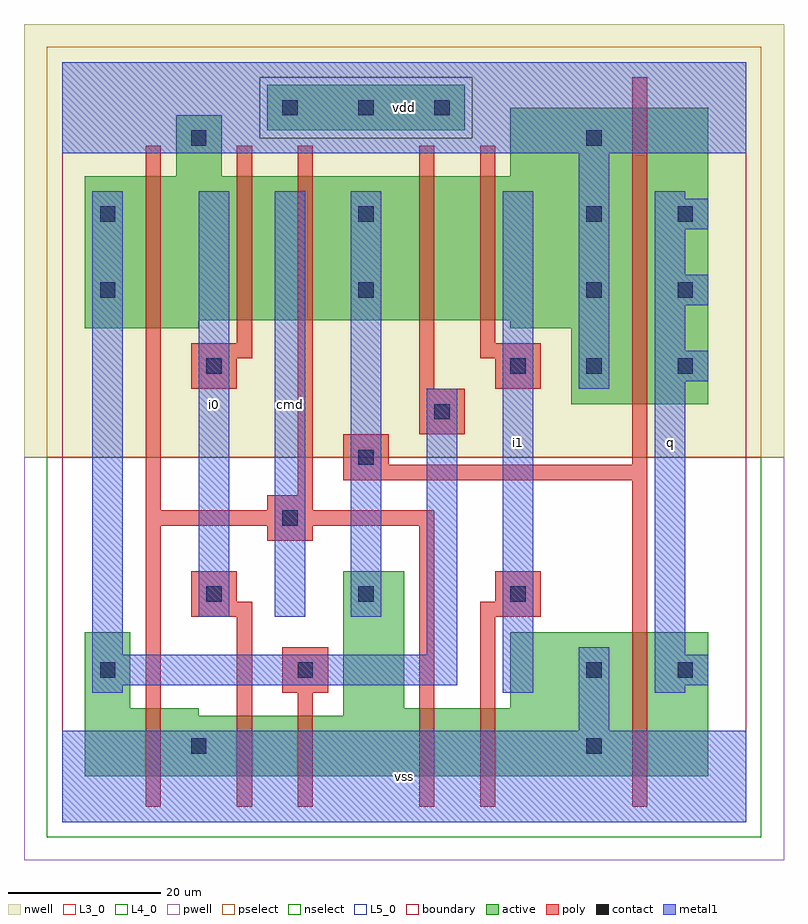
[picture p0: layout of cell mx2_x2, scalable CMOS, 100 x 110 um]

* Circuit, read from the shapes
.subckt mx2_x2 cmd i0 i1 q vdd vss
M1 vss cmd n1 VSUBS nfet w=9u l=2u
M2 n2 i0 vss VSUBS nfet w=8u l=2u
M3 n3 n1 n2 VSUBS nfet w=8u l=2u
M4 n4 cmd n3 VSUBS nfet w=9u l=2u
M5 vss i1 n4 VSUBS nfet w=9u l=2u
M6 q n3 vss VSUBS nfet w=19u l=2u
M7 vdd cmd n1 vdd pfet w=20u l=2u
M8 n5 i0 vdd vdd pfet w=19u l=2u
M9 n3 cmd n5 vdd pfet w=19u l=2u
M10 n6 n1 n3 vdd pfet w=19u l=2u
M11 vdd i1 n6 vdd pfet w=19u l=2u
M12 q n3 vdd vdd pfet w=39u l=2u
.ends

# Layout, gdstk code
import gdstk
lib = gdstk.Library(unit=1e-6, precision=1e-09)
def R(c, l, rs):  # rectangles x0, y0, x1, y1
    for r in rs: c.add(gdstk.rectangle(r[:2], r[2:], *l))
def A(c, l, x, y, w, h, nx, ny, dx, dy):  # array of equal rectangles
    R(c, l, [(x+i*dx, y+j*dy, x+i*dx+w, y+j*dy+h) for i in range(nx) for j in range(ny)])
L3_0 = (3, 0)
L4_0 = (4, 0)
L5_0 = (5, 0)
contact = (25, 0)
pwell = (41, 0)
nwell = (42, 0)
active = (43, 0)
pselect = (44, 0)
nselect = (45, 0)
poly = (46, 0)
metal1 = (49, 0)
boundary = (63, 0)

mx2_x2 = lib.new_cell('mx2_x2')
R(mx2_x2, L3_0, [(3,6,85,14), (3,14,18,15), (37,14,85,15), (3,15,9,25), (37,15,45,33), (59,15,85,25)])
R(mx2_x2, L4_0, [(67,55,85,65), (3,65,18,66), (59,65,85,66), (3,66,85,85), (15,85,21,93), (59,85,85,94)])
R(mx2_x2, L5_0, [(27,91,53,97)])
A(mx2_x2, contact, 19, 29, 2, 2, 3, 1, 20, 0)
A(mx2_x2, contact, 69, 59, 2, 2, 1, 4, 0, 10)
A(mx2_x2, contact, 81, 59, 2, 2, 1, 3, 0, 10)
A(mx2_x2, contact, 29, 93, 2, 2, 3, 1, 10, 0)
R(mx2_x2, contact, [(17,9,19,11), (69,9,71,11), (5,19,7,21), (31,19,33,21), (69,19,71,21), (81,19,83,21), (29,39,31,41), (39,47,41,49), (49,53,51,55), (19,59,21,61), (59,59,61,61), (5,69,7,71), (39,69,41,71), (5,79,7,81), (39,79,41,81), (17,89,19,91)])
R(mx2_x2, pwell, [(-5,-5,95,48)])
R(mx2_x2, nwell, [(-5,48,95,105)])
R(mx2_x2, active, [(3,6,85,14), (3,14,18,15), (37,14,85,15), (3,15,9,25), (37,15,45,33), (59,15,85,25), (67,55,85,65), (3,65,18,66), (59,65,85,66), (3,66,85,85), (15,85,21,93), (59,85,85,94), (27,91,53,97)])
R(mx2_x2, pselect, [(-2,48,92,90), (-2,90,26,98), (54,90,92,98), (-2,98,92,102)])
R(mx2_x2, nselect, [(-2,-2,92,48), (26,90,54,98)])
R(mx2_x2, poly, [(11,2,13,39), (23,2,25,27), (31,2,33,17), (47,2,49,39), (55,2,57,27), (75,2,77,45), (29,17,35,23), (17,27,25,29), (55,27,63,29), (17,29,23,33), (57,29,63,33), (27,37,33,39), (11,39,49,41), (11,41,13,89), (27,41,33,43), (31,43,33,89), (37,45,77,47), (37,47,43,51), (75,47,77,98), (47,51,53,57), (17,57,23,61), (47,57,49,89), (57,57,63,61), (17,61,25,63), (55,61,63,63), (23,63,25,89), (55,63,57,89)])
A(mx2_x2, metal1, 18, 27, 4, 56, 3, 1, 10, 0)
A(mx2_x2, metal1, 78, 58, 7, 4, 1, 3, 0, 10)
R(mx2_x2, metal1, [(0,0,90,12), (68,12,72,23), (4,17,8,18), (58,17,62,83), (78,17,82,18), (4,18,52,22), (78,18,85,22), (4,22,8,83), (48,22,52,57), (78,22,82,58), (68,57,72,88), (78,62,82,68), (78,72,82,78), (78,82,82,83), (0,88,90,100)])
R(mx2_x2, boundary, [(0,0,90,100)])
mx2_x2.add(gdstk.Label('i0', (20,55), layer=49, texttype=0))
mx2_x2.add(gdstk.Label('cmd', (30,55), layer=49, texttype=0))
mx2_x2.add(gdstk.Label('vss', (45,6), layer=49, texttype=0))
mx2_x2.add(gdstk.Label('i1', (60,50), layer=49, texttype=0))
mx2_x2.add(gdstk.Label('vdd', (45,94), layer=49, texttype=0))
mx2_x2.add(gdstk.Label('q', (80,50), layer=49, texttype=0))

lib.write_gds('mx2_x2.gds')
